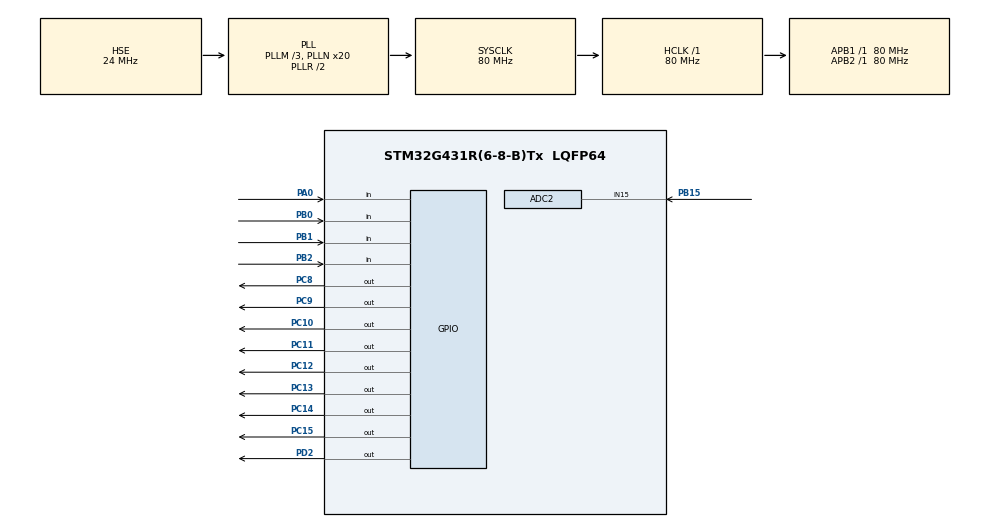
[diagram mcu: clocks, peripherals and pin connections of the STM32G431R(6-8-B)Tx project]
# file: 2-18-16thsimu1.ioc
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ADC2.Channel-0\#ChannelRegularConversion=ADC_CHANNEL_15
ADC2.ClockPrescaler=ADC_CLOCK_ASYNC_DIV128
ADC2.NbrOfConversionFlag=1
ADC2.OffsetNumber-0\#ChannelRegularConversion=ADC_OFFSET_NONE
ADC2.Rank-0\#ChannelRegularConversion=1
ADC2.SamplingTime-0\#ChannelRegularConversion=ADC_SAMPLETIME_2CYCLES_5
Mcu.Family=STM32G4
Mcu.Name=STM32G431R(6-8-B)Tx
Mcu.Package=LQFP64
NVIC.ADC1_2_IRQn=true\:2\:0\:true\:false\:true\:true\:true\:true
NVIC.PriorityGroup=NVIC_PRIORITYGROUP_4
NVIC.TIM7_IRQn=true\:1\:0\:true\:false\:true\:true\:true\:true
PA0.GPIO_Mode=GPIO_MODE_INPUT
PA0.GPIO_PuPd=GPIO_PULLUP
PA0.Signal=GPIO_Input
PA13.Mode=Serial_Wire
PA13.Signal=SYS_JTMS-SWDIO
PA14.Mode=Serial_Wire
PA14.Signal=SYS_JTCK-SWCLK
PB0.GPIO_Mode=GPIO_MODE_INPUT
PB0.GPIO_PuPd=GPIO_PULLUP
PB0.Signal=GPIO_Input
PB1.GPIO_Mode=GPIO_MODE_INPUT
PB1.GPIO_PuPd=GPIO_PULLUP
PB1.Signal=GPIO_Input
PB15.Mode=IN15-Single-Ended
PB15.Signal=ADC2_IN15
PB2.GPIO_Mode=GPIO_MODE_INPUT
PB2.GPIO_PuPd=GPIO_PULLUP
PB2.Signal=GPIO_Input
PC10.PinState=GPIO_PIN_SET
PC10.Signal=GPIO_Output
PC11.PinState=GPIO_PIN_SET
PC11.Signal=GPIO_Output
PC12.PinState=GPIO_PIN_SET
PC12.Signal=GPIO_Output
PC13.PinState=GPIO_PIN_SET
PC13.Signal=GPIO_Output
PC14-OSC32_IN.PinState=GPIO_PIN_SET
PC14-OSC32_IN.Signal=GPIO_Output
PC15-OSC32_OUT.PinState=GPIO_PIN_SET
PC15-OSC32_OUT.Signal=GPIO_Output
PC8.PinState=GPIO_PIN_SET
PC8.Signal=GPIO_Output
PC9.PinState=GPIO_PIN_SET
PC9.Signal=GPIO_Output
PD2.PinState=GPIO_PIN_SET
PD2.Signal=GPIO_Output
PF0-OSC_IN.Mode=HSE-External-Oscillator
PF0-OSC_IN.Signal=RCC_OSC_IN
PF1-OSC_OUT.Mode=HSE-External-Oscillator
PF1-OSC_OUT.Signal=RCC_OSC_OUT
ProjectManager.HeapSize=0x200
ProjectManager.StackSize=0x400
ProjectManager.TargetToolchain=MDK-ARM V5.32
RCC.ADC12Freq_Value=80000000
RCC.AHBFreq_Value=80000000
RCC.APB1Freq_Value=80000000
RCC.APB1TimFreq_Value=80000000
RCC.APB2Freq_Value=80000000
RCC.APB2TimFreq_Value=80000000
RCC.CortexFreq_Value=80000000
RCC.EXTERNAL_CLOCK_VALUE=12288000
RCC.HCLKFreq_Value=80000000
RCC.HSE_VALUE=24000000
RCC.HSI48_VALUE=48000000
RCC.HSI_VALUE=16000000
RCC.LSE_VALUE=32768
RCC.PLLM=RCC_PLLM_DIV3
RCC.PLLN=20
RCC.PLLSourceVirtual=RCC_PLLSOURCE_HSE
RCC.SYSCLKFreq_VALUE=80000000
RCC.SYSCLKSource=RCC_SYSCLKSOURCE_PLLCLK
RCC.USBFreq_Value=80000000
RCC.VCOOutputFreq_Value=160000000
TIM7.PeriodNoDither=1000-1
TIM7.Prescaler=80-1
VP_SYS_VS_DBSignals.Mode=DisableDeadBatterySignals
VP_TIM7_VS_ClockSourceINT.Mode=Enable_Timer
board=custom

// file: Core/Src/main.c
/* USER CODE BEGIN Header */
/**
  ******************************************************************************
  * @file           : main.c
  * @brief          : Main program body
  ******************************************************************************
  * @attention
  *
  * Copyright (c) 2025 STMicroelectronics.
  * All rights reserved.
  *
  * This software is licensed under terms that can be found in the LICENSE file
  * in the root directory of this software component.
  * If no LICENSE file comes with this software, it is provided AS-IS.
  *
  ******************************************************************************
  */
/* USER CODE END Header */
#include "main.h"
#include "adc.h"
#include "tim.h"
#include "gpio.h"

/* USER CODE BEGIN Includes */
#include "headfile.h"

/* USER CODE END Includes */

void SystemClock_Config(void);

int main(void)
{

  /* MCU Configuration--------------------------------------------------------*/

  /* Reset of all peripherals, Initializes the Flash interface and the Systick. */
  HAL_Init();

  /* Configure the system clock */
  SystemClock_Config();

  /* Initialize all configured peripherals */
  MX_GPIO_Init();
  MX_TIM7_Init();
  MX_ADC2_Init();
  /* USER CODE BEGIN 2 */
	HAL_GPIO_WritePin(GPIOD, GPIO_PIN_2, GPIO_PIN_RESET);
	led_show(1,0);
	led_show(2,0);
	led_show(3,0);
	led_show(4,0);
	led_show(5,0);
	led_show(6,0);
	led_show(7,0);
	led_show(8,0);

	HAL_TIM_Base_Start_IT(&htim7);

	LCD_Init();
	LCD_Clear(Black);
	LCD_SetTextColor(White);
	LCD_SetBackColor(Black);

	I2CInit();

//	eprom_write(0,0);
//	eprom_write(1,1);
//	eprom_write(2,2);

	pass_word[0] = eprom_read(0) + 0x30;
	pass_word[1] = eprom_read(1) + 0x30;
	pass_word[2] = eprom_read(2) + 0x30;

//	eprom_write(0,0x30);
//	eprom_write(1,0x31);
//	eprom_write(2,0x32);
//	pass_word[0] = eprom_read(0);
//	pass_word[1] = eprom_read(1);
//	pass_word[2] = eprom_read(2);
  /* USER CODE END 2 */

  /* Infinite loop */
  /* USER CODE BEGIN WHILE */
  while (1)
  {
		while_fun();
    /* USER CODE END WHILE */

  }
}

void SystemClock_Config(void)
{
  RCC_OscInitTypeDef RCC_OscInitStruct = {0};
  RCC_ClkInitTypeDef RCC_ClkInitStruct = {0};

  /** Configure the main internal regulator output voltage
  */
  HAL_PWREx_ControlVoltageScaling(PWR_REGULATOR_VOLTAGE_SCALE1);

  /** Initializes the RCC Oscillators according to the specified parameters
  * in the RCC_OscInitTypeDef structure.
  */
  RCC_OscInitStruct.OscillatorType = RCC_OSCILLATORTYPE_HSE;
  RCC_OscInitStruct.HSEState = RCC_HSE_ON;
  RCC_OscInitStruct.PLL.PLLState = RCC_PLL_ON;
  RCC_OscInitStruct.PLL.PLLSource = RCC_PLLSOURCE_HSE;
  RCC_OscInitStruct.PLL.PLLM = RCC_PLLM_DIV3;
  RCC_OscInitStruct.PLL.PLLN = 20;
  RCC_OscInitStruct.PLL.PLLP = RCC_PLLP_DIV2;
  RCC_OscInitStruct.PLL.PLLQ = RCC_PLLQ_DIV2;
  RCC_OscInitStruct.PLL.PLLR = RCC_PLLR_DIV2;
  if (HAL_RCC_OscConfig(&RCC_OscInitStruct) != HAL_OK)
  {
    Error_Handler();
  }

  /** Initializes the CPU, AHB and APB buses clocks
  */
  RCC_ClkInitStruct.ClockType = RCC_CLOCKTYPE_HCLK|RCC_CLOCKTYPE_SYSCLK
                              |RCC_CLOCKTYPE_PCLK1|RCC_CLOCKTYPE_PCLK2;
  RCC_ClkInitStruct.SYSCLKSource = RCC_SYSCLKSOURCE_PLLCLK;
  RCC_ClkInitStruct.AHBCLKDivider = RCC_SYSCLK_DIV1;
  RCC_ClkInitStruct.APB1CLKDivider = RCC_HCLK_DIV1;
  RCC_ClkInitStruct.APB2CLKDivider = RCC_HCLK_DIV1;

  if (HAL_RCC_ClockConfig(&RCC_ClkInitStruct, FLASH_LATENCY_2) != HAL_OK)
  {
    Error_Handler();
  }
}

void Error_Handler(void)
{
  __disable_irq();
  while (1)
  {
  }
}
